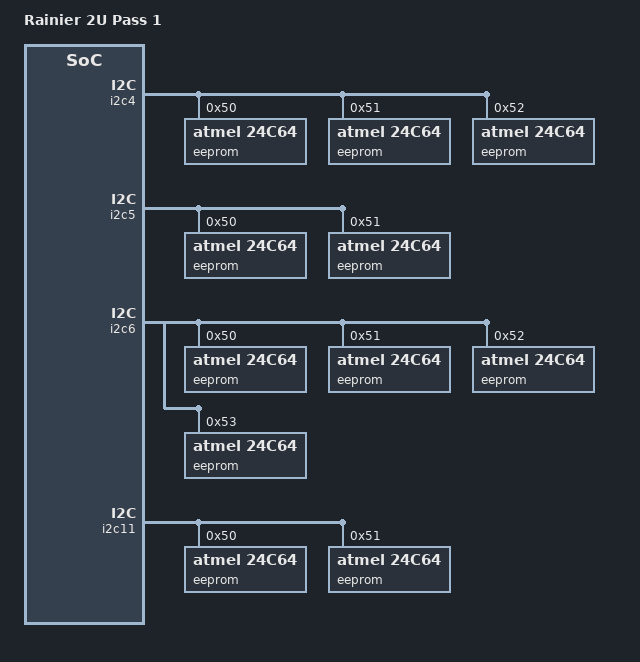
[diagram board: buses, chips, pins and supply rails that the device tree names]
// SPDX-License-Identifier: GPL-2.0-or-later
// Copyright 2021 IBM Corp.
/dts-v1/;

#include "aspeed-bmc-ibm-rainier.dts"

/ {
	model = "Rainier 2U Pass 1";

	aliases {
		/delete-property/ i2c20;
		/delete-property/ i2c21;
		/delete-property/ i2c22;
		/delete-property/ i2c23;
		/delete-property/ i2c24;
		/delete-property/ i2c25;
		/delete-property/ i2c26;
		/delete-property/ i2c27;
		/delete-property/ i2c28;
		/delete-property/ i2c29;
		/delete-property/ i2c30;
	};
};

&i2c4 {
	/delete-node/ pca9546@70;

	eeprom@50 {
		compatible = "atmel,24c64";
		reg = <0x50>;
	};

	eeprom@51 {
		compatible = "atmel,24c64";
		reg = <0x51>;
	};

	eeprom@52 {
		compatible = "atmel,24c64";
		reg = <0x52>;
	};
};

&i2c5 {
	/delete-node/ pca9546@70;

	eeprom@50 {
		compatible = "atmel,24c64";
		reg = <0x50>;
	};

	eeprom@51 {
		compatible = "atmel,24c64";
		reg = <0x51>;
	};
};

&i2c6 {
	/delete-node/ pca9546@70;

	eeprom@50 {
		compatible = "atmel,24c64";
		reg = <0x50>;
	};

	eeprom@51 {
		compatible = "atmel,24c64";
		reg = <0x51>;
	};

	eeprom@52 {
		compatible = "atmel,24c64";
		reg = <0x52>;
	};

	eeprom@53 {
		compatible = "atmel,24c64";
		reg = <0x53>;
	};
};

&i2c11 {
	/delete-node/ pca9546@70;

	eeprom@50 {
		compatible = "atmel,24c64";
		reg = <0x50>;
	};

	eeprom@51 {
		compatible = "atmel,24c64";
		reg = <0x51>;
	};
};
